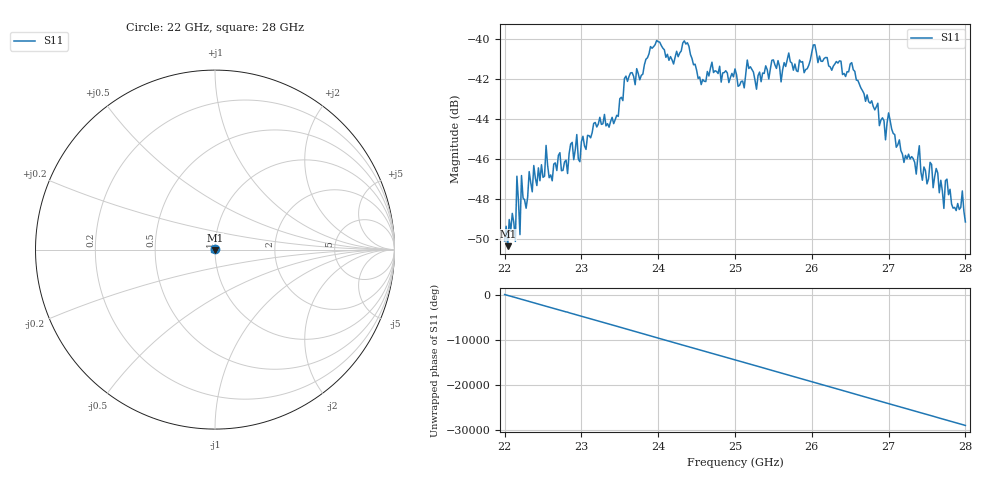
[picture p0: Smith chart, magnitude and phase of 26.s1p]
#  HZ  S  RI  R  50.00
! Rohde & Schwarz ZVA40 4Ports - Version 3.90 - 1145.1110k42 SN: 100403
! Date: 2023-10-04 08:38:53
! Measurement: S12
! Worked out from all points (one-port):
!   301 points, 22 GHz to 28 GHz, reference 50 ohm
!   lowest |S11| = -50.4 dB at 22.04 GHz (marker M1), VSWR 1.01, Z = 49.8 - j0.256 ohm
!   |S11| at or under -10 dB: start of sweep to end of sweep
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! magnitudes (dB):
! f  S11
! 22 GHz  -50.1
! 22.04 GHz  -50.4
! 22.1 GHz  -48.7
! 22.14 GHz  -50.1
! 22.16 GHz  -46.9
! 22.2 GHz  -49.8
! 22.22 GHz  -46.8
! 22.28 GHz  -48.5
! 22.32 GHz  -46.6
! 22.52 GHz  -46.9
! 22.54 GHz  -45.3
! 22.58 GHz  -46.9
! 22.76 GHz  -46.6
! 23.5 GHz  -43.0
! 23.98 GHz  -40.1
! 24.26 GHz  -40.9
! 24.56 GHz  -42.3
! 25 GHz  -41.5
! 25.76 GHz  -41.5
! 26.04 GHz  -40.3
! 26.5 GHz  -41.2
! 27.26 GHz  -45.8
! 27.62 GHz  -46.5
! 27.72 GHz  -48.5
! 27.76 GHz  -47.0
! 27.88 GHz  -48.6
! 27.96 GHz  -47.6
! 28 GHz  -49.2
